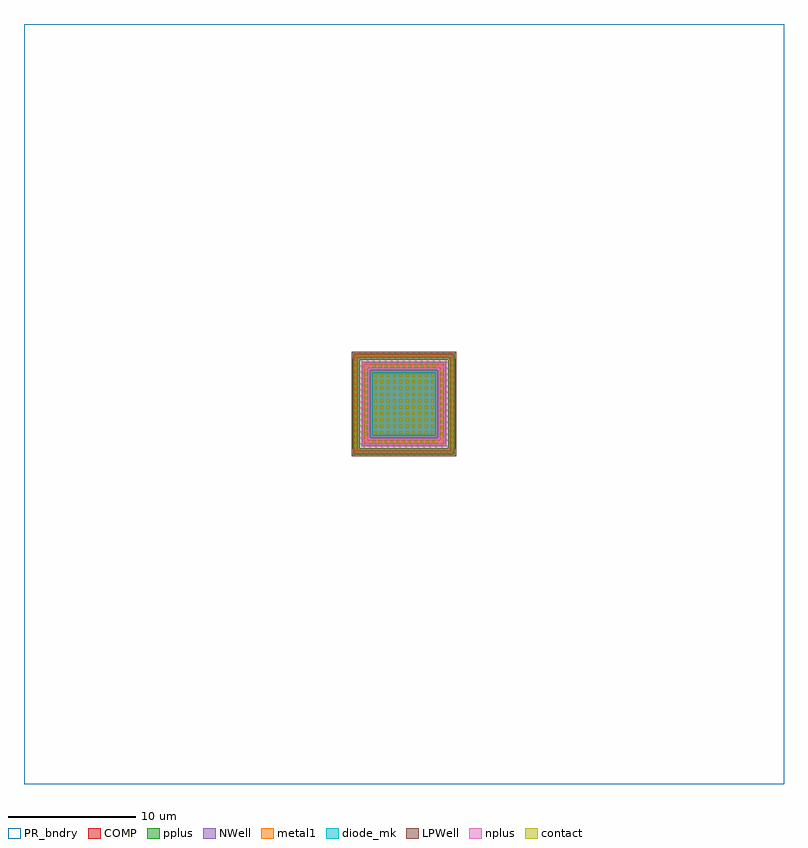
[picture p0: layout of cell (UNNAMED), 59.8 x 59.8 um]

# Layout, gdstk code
import gdstk
lib = gdstk.Library(unit=1e-6, precision=1e-09)
def R(c, l, rs):  # rectangles x0, y0, x1, y1
    for r in rs: c.add(gdstk.rectangle(r[:2], r[2:], *l))
def A(c, l, x, y, w, h, nx, ny, dx, dy):  # array of equal rectangles
    R(c, l, [(x+i*dx, y+j*dy, x+i*dx+w, y+j*dy+h) for i in range(nx) for j in range(ny)])
PR_bndry = (0, 0)
NWell = (21, 0)
COMP = (22, 0)
pplus = (31, 0)
nplus = (32, 0)
contact = (33, 0)
metal1 = (34, 0)
diode_mk = (115, 5)
LPWell = (204, 0)

c__unnamed_ = lib.new_cell('(UNNAMED)')
R(c__unnamed_, PR_bndry, [(-29.9,-29.9,29.9,29.9)])
R(c__unnamed_, NWell, [(-3.3,-3.3,3.3,3.3)])
R(c__unnamed_, COMP, [(-3.99,-3.99,3.99,-3.63), (-3.99,-3.63,-3.63,3.63), (3.63,-3.63,3.99,3.63), (-3.18,-3.18,3.18,-2.8), (-3.18,-2.8,-2.8,2.8), (2.8,-2.8,3.18,2.8), (-2.5,-2.5,2.5,2.5), (-3.18,2.8,3.18,3.18), (-3.99,3.63,3.99,3.99)])
R(c__unnamed_, pplus, [(-4.01,-4.01,4.01,-3.505), (-4.02,-3.505,4.02,-3.47), (-4.02,-3.47,-3.47,3.47), (3.47,-3.47,4.02,3.47), (-2.66,-2.66,2.66,2.66), (-4.02,3.47,4.02,3.505), (-4.01,3.505,4.01,4.01)])
R(c__unnamed_, nplus, [(-3.34,-3.34,3.34,-2.71), (-3.34,-2.71,-2.71,2.71), (2.71,-2.71,3.34,2.71), (-3.34,2.71,3.34,3.34)])
A(c__unnamed_, contact, -3.92, -3.4, 0.22, 0.22, 1, 15, 0, 0.47)
A(c__unnamed_, contact, 3.7, -3.4, 0.22, 0.22, 1, 15, 0, 0.47)
A(c__unnamed_, contact, -2.46, -3.1, 0.22, 0.22, 11, 2, 0.47, 5.98)
A(c__unnamed_, contact, -3.1, -2.46, 0.22, 0.22, 1, 11, 0, 0.47)
A(c__unnamed_, contact, 2.88, -2.46, 0.22, 0.22, 1, 11, 0, 0.47)
A(c__unnamed_, contact, -2.36, -2.36, 0.22, 0.22, 10, 10, 0.5, 0.5)
R(c__unnamed_, metal1, [(-3.925,-3.925,3.925,-3.695), (-3.925,-3.695,-3.695,3.695), (3.695,-3.695,3.925,3.695), (-3.115,-3.115,3.115,-2.865), (-3.115,-2.865,-2.865,2.865), (2.865,-2.865,3.115,2.865), (-2.49,-2.435,2.49,2.435), (-3.115,2.865,3.115,3.115), (-3.925,3.695,3.925,3.925)])
R(c__unnamed_, diode_mk, [(-2.5,-2.5,2.5,2.5)])
R(c__unnamed_, LPWell, [(-4.11,-4.11,4.11,-3.3), (-4.11,-3.3,-3.3,3.3), (3.3,-3.3,4.11,3.3), (-4.11,3.3,4.11,4.11)])

lib.write_gds('_UNNAMED_.gds')
